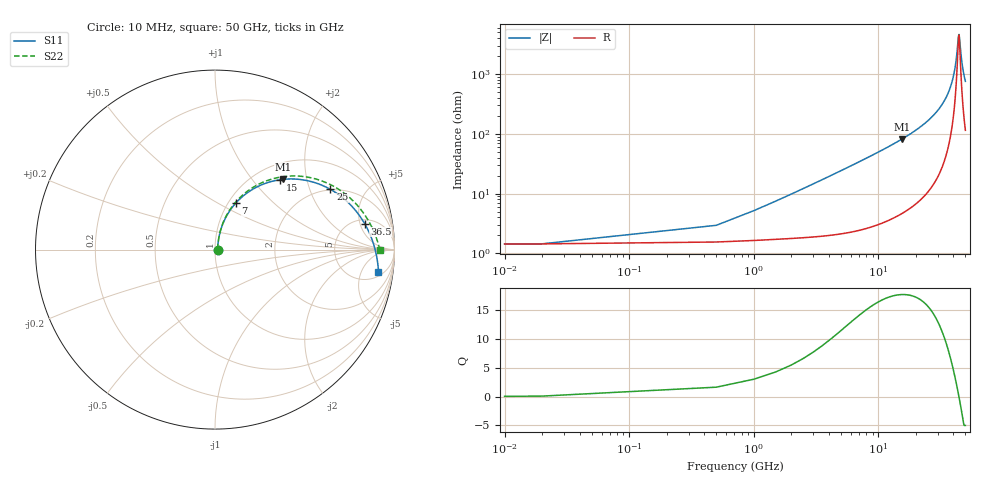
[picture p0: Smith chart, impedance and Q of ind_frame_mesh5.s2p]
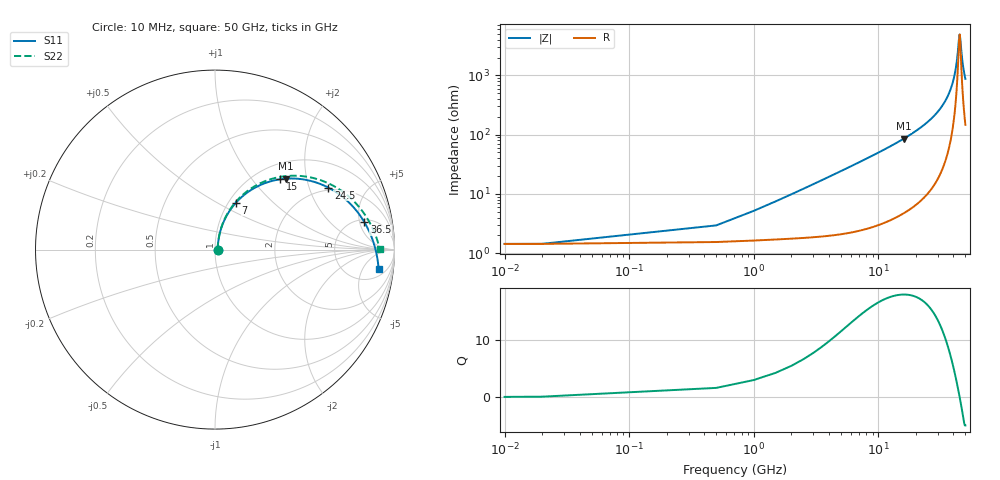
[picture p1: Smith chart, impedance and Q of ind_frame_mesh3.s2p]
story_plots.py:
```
#!/usr/bin/env python
"""Plots and numbers for README.md (ind_frame spiral inductor mesh study).

Reads the Touchstone files in results/snp/ and writes to results/plots/:

  story_uniform_LQ.png        - L and Q vs. frequency, uniform order-2 mesh 5 -> 1 um
  story_accuracy_vs_cost.png  - L and peak-Q error vs. solve time, order 1, order 2, AMR

It also prints the numbers quoted in README.md.

Inductor figures of merit, ports 1/2 taken as one differential pair:
  Zdiff = Z11 - Z12 - Z21 + Z22,  L = Im(Zdiff)/w,  Q = Im(Zdiff)/Re(Zdiff),  R = Re(Zdiff)
Reference for all errors: 1 um uniform mesh, order 2.
"""
import os
import numpy as np
import skrf as rf
import matplotlib
matplotlib.use("Agg")
import matplotlib.pyplot as plt

HERE = os.path.dirname(os.path.abspath(__file__))
SNP_DIR = os.path.join(HERE, "snp")
PLOT_DIR = os.path.join(HERE, "plots")

L_FREQ = 10e9  # frequency for the inductance comparison

# uniform order-2 sweep, coarse -> fine; ordinal blue ramp, light -> dark
UNIFORM = [
    ("5 µm", "ind_frame_mesh5.s2p", "#86b6ef"),
    ("3 µm", "ind_frame_mesh3.s2p", "#3987e5"),
    ("2 µm", "ind_frame_mesh2.s2p", "#1c5cab"),
    ("1 µm", "ind_frame_mesh1.s2p", "#0d366b"),
]
ORDER1 = [
    ("3 µm", "ind_frame_mesh3_order1.s2p"),
    ("2 µm", "ind_frame_mesh2_order1.s2p"),
    ("1 µm", "ind_frame_mesh1_order1.s2p"),
]
AMR = ("AMR final", "ind_frame_amr2_final.s2p")
REFERENCE = "ind_frame_mesh1.s2p"

# solve times in minutes, from the Palace logs of each run
SOLVE_MIN = {
    "ind_frame_mesh5.s2p": 47.5 / 60,
    "ind_frame_mesh3.s2p": 1 + 29 / 60,
    "ind_frame_mesh2.s2p": 2 + 20 / 60,
    "ind_frame_mesh1.s2p": 5 + 5 / 60,
    "ind_frame_mesh3_order1.s2p": 9.0 / 60,
    "ind_frame_mesh2_order1.s2p": 17.9 / 60,
    "ind_frame_mesh1_order1.s2p": 36.1 / 60,
    # AMR: cumulative over all iterations
    "ind_frame_amr2_final.s2p": 9 + 54 / 60,
}

INK = "#0b0b0b"
INK2 = "#52514e"
GRID = "#e4e3de"
BLUE = "#2a78d6"
ORANGE = "#eb6834"
AQUA = "#1baf7a"


def load(fname):
    return rf.Network(os.path.join(SNP_DIR, fname))


def lqr(ntw):
    z = ntw.z
    zd = z[:, 0, 0] - z[:, 0, 1] - z[:, 1, 0] + z[:, 1, 1]
    w = 2 * np.pi * ntw.f
    return {"L": zd.imag / w * 1e9, "Q": zd.imag / zd.real, "R": zd.real}


def at(ntw, values, f_hz):
    return np.interp(f_hz, ntw.f, values)


def errors(fname, ref):
    """(L error at L_FREQ in %, peak-Q error in %) vs. the reference network."""
    ntw = load(fname)
    m, r = lqr(ntw), lqr(ref)
    dl = (at(ntw, m["L"], L_FREQ) / at(ref, r["L"], L_FREQ) - 1) * 100
    dq = (m["Q"].max() / r["Q"].max() - 1) * 100
    return dl, dq


def style(ax):
    ax.grid(True, color=GRID, linewidth=0.8)
    ax.set_axisbelow(True)
    for side in ("top", "right"):
        ax.spines[side].set_visible(False)
    for side in ("left", "bottom"):
        ax.spines[side].set_color(INK2)
    ax.tick_params(colors=INK2, labelsize=9)


def plot_uniform_lq():
    fig, axes = plt.subplots(1, 2, figsize=(10, 3.9), sharex=True)
    for label, fname, color in UNIFORM:
        ntw = load(fname)
        m = lqr(ntw)
        for ax, key in zip(axes, ("L", "Q")):
            ax.plot(ntw.f / 1e9, m[key], color=color, linewidth=2, label=label)
    for ax, title in zip(axes, ("Differential inductance L (nH)", "Differential Q factor")):
        style(ax)
        ax.set_title(title, loc="left", fontsize=11, color=INK)
        ax.set_xlabel("Frequency (GHz)", color=INK2)
    axes[0].set_ylim(0.6, 2.2)
    handles, labels = axes[0].get_legend_handles_labels()
    fig.legend(handles, labels, loc="upper center", ncol=4, frameon=False, fontsize=9,
               title="refined_cellsize (uniform, order 2)", title_fontsize=9)
    fig.tight_layout(rect=(0, 0, 1, 0.86))
    out = os.path.join(PLOT_DIR, "story_uniform_LQ.png")
    fig.savefig(out, dpi=130, facecolor="white")
    plt.close(fig)
    print("wrote", out)


def plot_accuracy_vs_cost():
    ref = load(REFERENCE)
    fig, axes = plt.subplots(1, 2, figsize=(10, 4.2), sharex=True)
    series = [
        ("order 2, uniform", [(l, f) for l, f, _ in UNIFORM[:-1]], BLUE, "o"),
        ("order 1, uniform", ORDER1, ORANGE, "s"),
    ]
    for name, runs, color, marker in series:
        xs = [SOLVE_MIN[f] for _, f in runs]
        errs = [errors(f, ref) for _, f in runs]
        for ax, idx in zip(axes, (0, 1)):
            ys = [abs(e[idx]) for e in errs]
            ax.plot(xs, ys, color=color, linewidth=2, marker=marker, markersize=8, label=name, zorder=3)
            for (label, _), x, y in zip(runs, xs, ys):
                ax.annotate(label, (x, y), textcoords="offset points", xytext=(6, 5), fontsize=8, color=INK)
    dl, dq = errors(AMR[1], ref)
    for ax, y in zip(axes, (abs(dl), abs(dq))):
        ax.plot([SOLVE_MIN[AMR[1]]], [y], color=AQUA, marker="D", markersize=9, linestyle="none",
                label="AMR, 2 iterations", zorder=3)
    for ax, title in zip(axes, (f"|L error| at {L_FREQ / 1e9:.0f} GHz (%)", "|Peak Q error| (%)")):
        style(ax)
        ax.set_title(title, loc="left", fontsize=11, color=INK)
        ax.set_xscale("log")
        ax.set_xticks([0.1, 0.2, 0.5, 1, 2, 5, 10])
        ax.set_xticklabels(["0.1", "0.2", "0.5", "1", "2", "5", "10"])
        ax.set_xlim(0.1, 15)
        ax.set_ylim(bottom=0)
        ax.set_xlabel("Solve time (min, log scale)", color=INK2)
        ax.axvline(SOLVE_MIN[REFERENCE], color=INK2, linewidth=1, linestyle=":")
    axes[1].text(SOLVE_MIN[REFERENCE], axes[1].get_ylim()[1], " 1 µm reference\n run (5 min)",
                 fontsize=8, color=INK2, va="top")
    handles, labels = axes[0].get_legend_handles_labels()
    fig.legend(handles, labels, loc="upper center", ncol=3, frameon=False, fontsize=9,
               title="error vs. 1 µm uniform mesh, order 2", title_fontsize=9)
    fig.tight_layout(rect=(0, 0, 1, 0.86))
    out = os.path.join(PLOT_DIR, "story_accuracy_vs_cost.png")
    fig.savefig(out, dpi=130, facecolor="white")
    plt.close(fig)
    print("wrote", out)


def print_numbers():
    ref = load(REFERENCE)
    rows = [(l + ", order 2", f) for l, f, _ in UNIFORM] + [(l + ", order 1", f) for l, f in ORDER1] + [AMR]
    print()
    print(f"{'variant':16s} {'L@1GHz':>7s} {'L@10GHz':>8s} {'dL%':>6s} {'Qpeak':>6s} {'@GHz':>5s} {'dQ%':>6s} "
          f"{'R@1GHz':>7s} {'R@10GHz':>8s} {'MaxdS':>7s} {'min':>5s}")
    for label, fname in rows:
        ntw = load(fname)
        m = lqr(ntw)
        dl, dq = errors(fname, ref)
        print(f"{label:16s} {at(ntw, m['L'], 1e9):7.4f} {at(ntw, m['L'], L_FREQ):8.4f} {dl:+6.2f} "
              f"{m['Q'].max():6.2f} {ntw.f[m['Q'].argmax()] / 1e9:5.1f} {dq:+6.2f} "
              f"{at(ntw, m['R'], 1e9):7.3f} {at(ntw, m['R'], L_FREQ):8.3f} "
              f"{np.abs(ntw.s - ref.s).max():7.4f} {SOLVE_MIN[fname]:5.1f}")


if __name__ == "__main__":
    os.makedirs(PLOT_DIR, exist_ok=True)
    plot_uniform_lq()
    plot_accuracy_vs_cost()
    print_numbers()
```
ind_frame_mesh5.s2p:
! Created with skrf 2.1.0 (http://scikit-rf.org).
# GHz S DB R 50.0
! Port[1] = P1
! Port[2] = P2
!freq dBS11 angS11 dBS21 angS21 dBS12 angS12 dBS22 angS22
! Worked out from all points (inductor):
!   102 points, 10 MHz to 50 GHz, reference 50 ohm
!   read as 1/Y11, port 2 shorted: L = 765 pH near 1.5 GHz
!   highest Q = 17.6 at 15.5 GHz (marker M1), where L = 841 pH
!   self-resonance near 44 GHz
!   S11 on the Smith chart (normalised r, x): 10 MHz: 1.03, +0.00; 7 GHz: 1.08, +0.61; 15 GHz: 1.29, +1.40; 25 GHz: 1.97, +2.79; 36.5 GHz: 5.84, +5.95; 50 GHz: 7, -11
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0.01  -36.99 1.9  -0.12 -0.0  -0.12 -0.0  -36.99 2.0
1  -26.76 67.0  -0.15 -3.1  -0.15 -3.1  -26.76 67.1
2  -21.26 73.3  -0.19 -6.0  -0.19 -6.0  -21.26 73.5
4  -15.49 72.4  -0.31 -11.6  -0.31 -11.6  -15.49 72.9
7  -10.93 65.9  -0.58 -19.9  -0.58 -19.9  -10.93 66.8
15  -5.48 47.0  -1.78 -39.3  -1.78 -39.3  -5.49 49.0
15.5  -5.28 45.9  -1.87 -40.3  -1.87 -40.3  -5.29 47.9
25  -2.79 27.6  -3.73 -58.4  -3.73 -58.4  -2.80 30.9
25.5  -2.71 26.7  -3.83 -59.2  -3.83 -59.2  -2.72 30.2
36.5  -1.45 9.8  -6.18 -75.5  -6.18 -75.5  -1.46 15.0
50  -0.73 -7.7  -9.30 -92.0  -9.30 -92.0  -0.74 -0.1
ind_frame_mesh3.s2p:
! Created with skrf 2.1.0 (http://scikit-rf.org).
# GHz S DB R 50.0
! Port[1] = P1
! Port[2] = P2
!freq dBS11 angS11 dBS21 angS21 dBS12 angS12 dBS22 angS22
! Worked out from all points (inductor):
!   102 points, 10 MHz to 50 GHz, reference 50 ohm
!   read as 1/Y11, port 2 shorted: L = 774 pH near 1 GHz
!   highest Q = 18.1 at 16 GHz (marker M1), where L = 850 pH
!   self-resonance near 44.5 GHz
!   S11 on the Smith chart (normalised r, x): 10 MHz: 1.03, +0.00; 7 GHz: 1.08, +0.62; 15 GHz: 1.28, +1.41; 24.5 GHz: 1.89, +2.71; 36.5 GHz: 5.52, +5.93; 50 GHz: 8, -11
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0.01  -36.98 2.0  -0.12 -0.0  -0.12 -0.0  -36.98 2.0
1  -26.71 67.2  -0.15 -3.1  -0.15 -3.1  -26.71 67.3
2  -21.20 73.4  -0.19 -6.0  -0.19 -6.0  -21.20 73.6
4  -15.42 72.5  -0.31 -11.7  -0.31 -11.7  -15.43 72.9
7  -10.86 65.9  -0.59 -19.9  -0.59 -19.9  -10.87 66.7
15  -5.43 47.1  -1.79 -39.3  -1.79 -39.3  -5.44 48.9
16  -5.04 44.9  -1.97 -41.5  -1.97 -41.5  -5.05 46.9
24.5  -2.86 28.7  -3.64 -57.5  -3.64 -57.5  -2.87 31.7
25.5  -2.69 27.0  -3.84 -59.2  -3.84 -59.2  -2.70 30.2
36.5  -1.45 10.4  -6.15 -75.2  -6.15 -75.2  -1.46 15.2
50  -0.74 -6.7  -9.16 -91.4  -9.16 -91.4  -0.75 0.4
